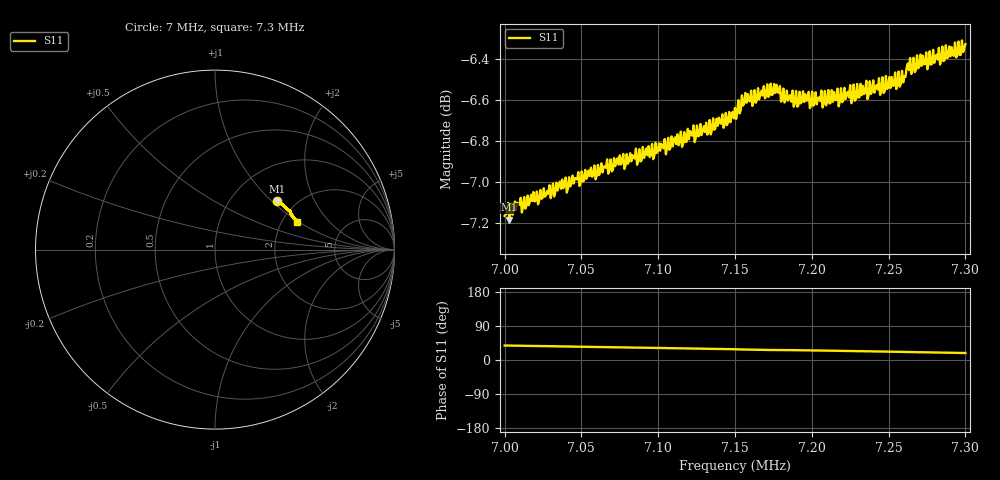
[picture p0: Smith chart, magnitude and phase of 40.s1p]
# Hz S RI R 50
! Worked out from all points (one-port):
!   401 points, 7 MHz to 7.3 MHz, reference 50 ohm
!   lowest |S11| = -7.2 dB at 7.003 MHz (marker M1), VSWR 2.56, Z = 80.4 + j53.7 ohm
!   |S11| at or under -10 dB: nowhere
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7000000  0.3449 0.2706
7003000  0.3444 0.2697
7037500  0.3626 0.2621
7050250  0.3675 0.2588
7065250  0.3729 0.2531
7069000  0.3754 0.2526
7075000  0.3785 0.2497
7079500  0.3793 0.2491
7084000  0.3802 0.2463
7087750  0.3826 0.2463
7091500  0.3843 0.2413
7096000  0.386 0.2435
7112500  0.3933 0.2364
7117000  0.3944 0.2355
7133500  0.4019 0.229
7150000  0.4095 0.2217
7156750  0.4158 0.2182
7162750  0.4179 0.2158
7174000  0.4205 0.2079
7177750  0.4213 0.2082
7181500  0.4218 0.2091
7187500  0.4224 0.2066
7208500  0.4263 0.1983
7225000  0.4315 0.1906
7256500  0.4414 0.1763
7262500  0.445 0.1727
7287250  0.4547 0.1607
7300000  0.4574 0.1539
